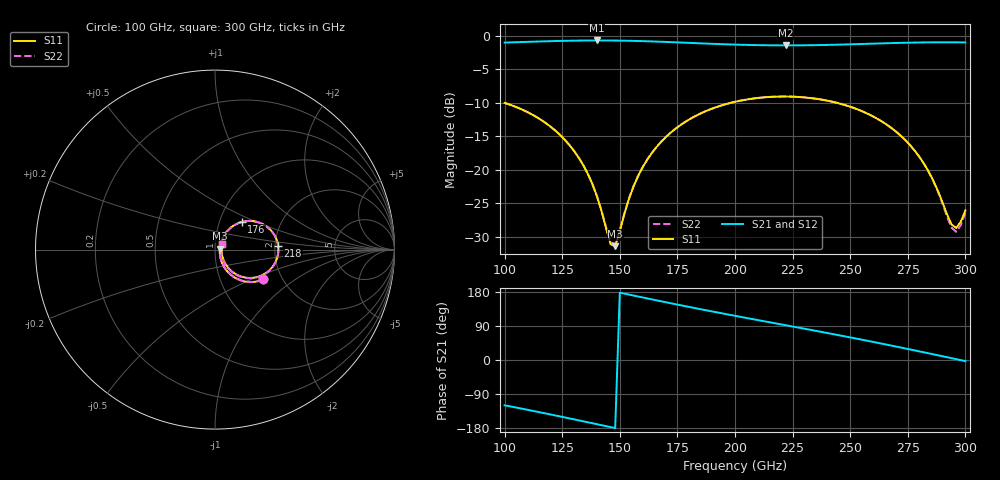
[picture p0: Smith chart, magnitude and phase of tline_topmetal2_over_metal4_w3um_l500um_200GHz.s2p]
#  GHZ S DB R 50
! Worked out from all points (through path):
!   101 points, 100 GHz to 300 GHz, reference 50 ohm
!   highest |S21| = -0.67 dB at 140 GHz (marker M1); lowest = -1.4 dB at 222 GHz (marker M2)
!   group delay of S21, straight-line fit = 3.34 ps
!   lowest |S11| = -31.4 dB at 148 GHz (marker M3), VSWR 1.06, Z = 52.7 + j0.533 ohm
!   |S11| at or under -10 dB: 100.1 GHz to 198 GHz (97.94 GHz wide, 65.7 % of centre); 244.4 GHz to end of sweep
!   |S22| runs from -31.1 to -9.0 dB; largest |S21 - S12| = 1.6e-14
!   S11 on the Smith chart (normalised r, x): 100 GHz: 1.60, -0.59; 176 GHz: 1.27, +0.41; 218 GHz: 2.08, +0.10; 300 GHz: 1.08, +0.07
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100  -9.99 -31.6  -0.98 -119.5  -0.98 -119.5  -9.99 -31.5
120  -13.56 -52.2  -0.77 -143.8  -0.77 -143.8  -13.56 -52.0
128  -16.24 -59.2  -0.71 -153.9  -0.71 -153.9  -16.23 -58.9
134  -19.22 -62.4  -0.68 -161.6  -0.68 -161.6  -19.21 -62.0
140  -23.87 -59.5  -0.67 -169.3  -0.67 -169.3  -23.83 -58.8
146  -31.11 -21.3  -0.68 -177.1  -0.68 -177.1  -30.85 -20.5
148  -31.40 10.8  -0.68 -179.7  -0.68 -179.7  -31.10 10.5
156  -22.44 56.6  -0.73 170.0  -0.73 170.0  -22.39 55.9
162  -18.43 57.0  -0.79 162.4  -0.79 162.4  -18.41 56.5
168  -15.79 53.2  -0.86 154.9  -0.86 154.9  -15.77 52.8
176  -13.39 46.0  -0.97 145.0  -0.97 145.0  -13.38 45.7
200  -9.84 21.8  -1.28 116.6  -1.28 116.6  -9.83 21.5
218  -9.06 3.4  -1.40 96.2  -1.40 96.2  -9.06 3.1
222  -9.04 -0.7  -1.40 91.7  -1.40 91.7  -9.04 -1.0
234  -9.32 -12.9  -1.37 78.2  -1.37 78.2  -9.32 -13.2
252  -10.81 -31.2  -1.23 57.3  -1.23 57.3  -10.81 -31.6
268  -13.77 -46.4  -1.06 37.8  -1.06 37.8  -13.78 -47.0
282  -19.06 -54.1  -0.96 20.2  -0.96 20.2  -19.10 -55.3
288  -23.08 -49.0  -0.94 12.5  -0.94 12.5  -23.20 -50.8
294  -28.17 -17.6  -0.94 4.8  -0.94 4.8  -28.65 -19.2
296  -28.67 3.5  -0.95 2.3  -0.95 2.3  -29.25 3.3
300  -26.06 37.2  -0.96 -2.9  -0.96 -2.9  -26.40 38.8
